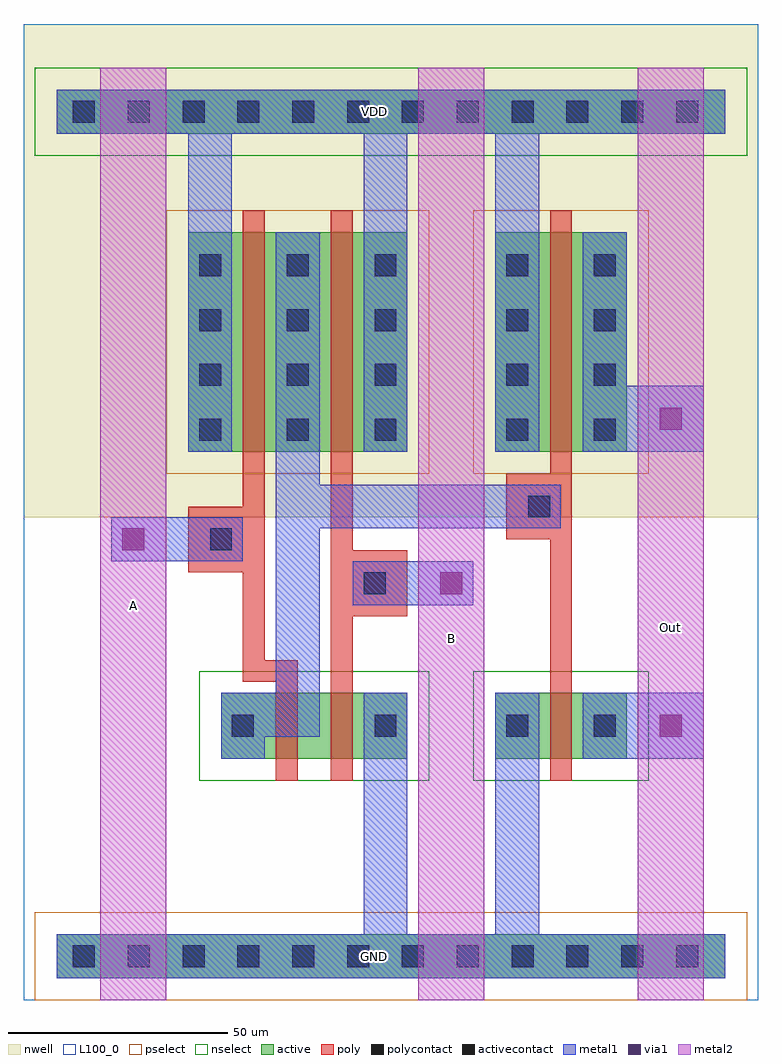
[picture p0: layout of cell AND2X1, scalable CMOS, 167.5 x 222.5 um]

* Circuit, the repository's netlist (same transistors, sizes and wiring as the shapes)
* Extracted by KLayout (CIDESI_CM05, LNunT, CIDESI)

.SUBCKT AND2X1 A B VDD Out GND
M$1 Out \$2 VDD VDD CIDPMOS L=5U W=50U AS=625P AD=625P PS=125U PD=125U
M$2 \$2 A VDD VDD CIDPMOS L=5U W=50U AS=625P AD=375P PS=125U PD=65U
M$3 VDD B \$2 VDD CIDPMOS L=5U W=50U AS=375P AD=625P PS=65U PD=125U
M$4 Out \$2 GND GND CIDNMOS L=5U W=15U AS=187.5P AD=187.5P PS=55U PD=55U
M$5 \$7 A \$2 GND CIDNMOS L=5U W=15U AS=187.5P AD=56.25P PS=55U PD=22.5U
M$6 GND B \$7 GND CIDNMOS L=5U W=15U AS=56.25P AD=187.5P PS=22.5U PD=55U
.ENDS AND2X1

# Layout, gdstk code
import gdstk
lib = gdstk.Library(unit=1e-6, precision=1e-09)
def R(c, l, rs):  # rectangles x0, y0, x1, y1
    for r in rs: c.add(gdstk.rectangle(r[:2], r[2:], *l))
def A(c, l, x, y, w, h, nx, ny, dx, dy):  # array of equal rectangles
    R(c, l, [(x+i*dx, y+j*dy, x+i*dx+w, y+j*dy+h) for i in range(nx) for j in range(ny)])
nwell = (42, 0)
active = (43, 0)
pselect = (44, 0)
nselect = (45, 0)
poly = (46, 0)
polycontact = (47, 0)
activecontact = (48, 0)
metal1 = (49, 0)
via1 = (50, 0)
metal2 = (51, 0)
L100_0 = (100, 0)

and2x1 = lib.new_cell('AND2X1')
R(and2x1, nwell, [(0,110,167.5,222.5)])
R(and2x1, active, [(7.5,5,160,15), (45,55,87.5,70), (107.5,55,137.5,70), (37.5,125,87.5,175), (107.5,125,137.5,175), (7.5,197.5,160,207.5)])
R(and2x1, pselect, [(2.5,0,165,20), (32.5,120,92.5,180), (102.5,120,142.5,180)])
R(and2x1, nselect, [(40,50,92.5,75), (102.5,50,142.5,75), (2.5,192.5,165,212.5)])
R(and2x1, poly, [(57.5,50,62.5,72.5), (70,50,75,87.5), (120,50,125,105), (50,72.5,62.5,77.5), (50,77.5,55,97.5), (70,87.5,87.5,102.5), (37.5,97.5,55,112.5), (70,102.5,75,180), (110,105,125,120), (50,112.5,55,180), (120,120,125,180)])
R(and2x1, polycontact, [(77.5,92.5,82.5,97.5), (42.5,102.5,47.5,107.5), (115,110,120,115)])
A(and2x1, activecontact, 11.25, 7.5, 5, 5, 12, 2, 12.5, 192.5)
A(and2x1, activecontact, 40, 127.5, 5, 5, 3, 4, 20, 12.5)
A(and2x1, activecontact, 110, 127.5, 5, 5, 1, 4, 0, 12.5)
A(and2x1, activecontact, 130, 127.5, 5, 5, 1, 4, 0, 12.5)
R(and2x1, activecontact, [(47.5,60,52.5,65), (80,60,85,65), (110,60,115,65), (130,60,135,65)])
R(and2x1, metal1, [(7.5,5,160,15), (77.5,15,87.5,70), (107.5,15,117.5,70), (45,55,55,60), (127.5,55,155,70), (45,60,67.5,70), (57.5,70,67.5,107.5), (75,90,102.5,100), (20,100,50,110), (57.5,107.5,122.5,117.5), (57.5,117.5,67.5,175), (37.5,125,47.5,197.5), (77.5,125,87.5,197.5), (107.5,125,117.5,197.5), (127.5,125,155,140), (127.5,140,137.5,175), (7.5,197.5,160,207.5)])
R(and2x1, via1, [(145,60,150,65), (95,92.5,100,97.5), (22.5,102.5,27.5,107.5), (145,130,150,135)])
R(and2x1, metal2, [(17.5,0,32.5,212.5), (90,0,105,212.5), (140,0,155,212.5)])
R(and2x1, L100_0, [(0,0,167.5,222.5)])
and2x1.add(gdstk.Label('VDD', (80,202.5), layer=49, texttype=1))
and2x1.add(gdstk.Label('GND', (80,10), layer=49, texttype=1))
and2x1.add(gdstk.Label('A', (25,90), layer=51, texttype=1))
and2x1.add(gdstk.Label('B', (97.5,82.5), layer=51, texttype=1))
and2x1.add(gdstk.Label('Out', (147.5,85), layer=51, texttype=1))

lib.write_gds('AND2X1.gds')
